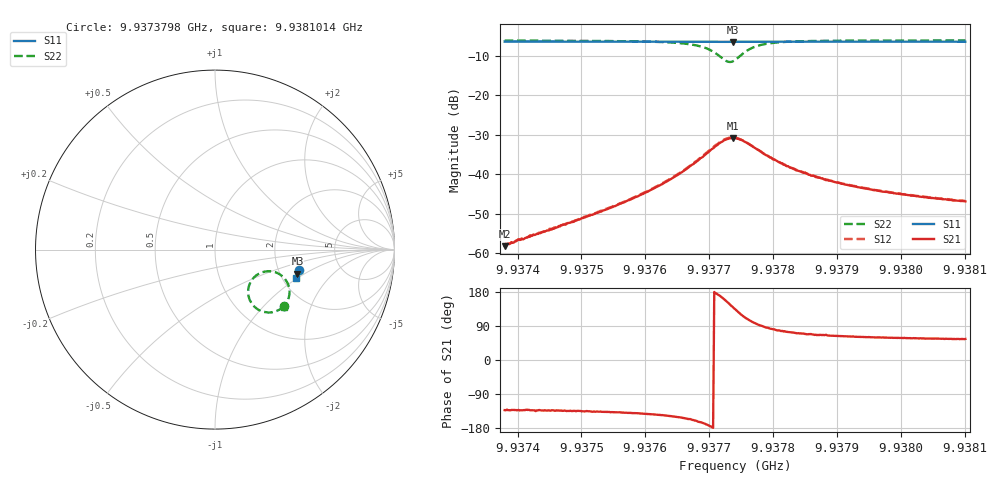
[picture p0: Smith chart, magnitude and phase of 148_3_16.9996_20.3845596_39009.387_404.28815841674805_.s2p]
#  HZ  S  RI  R  50.00
! Rohde & Schwarz Vector Network Analyzer
! Rohde-Schwarz,ZNB20-2Port,1311601062101988,3.16
! Created: UTC 3/20/2024, 10:58:44 PM
! freq[Hz]  re:S11  im:S11  re:S21  im:S21  re:S12  im:S12  re:S22  im:S22
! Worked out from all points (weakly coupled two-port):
!   401 points, 9.9373798 GHz to 9.9381014 GHz, reference 50 ohm
!   highest |S21| = -30.78 dB at 9.937737 GHz (marker M1); lowest = -58.2 dB at 9.9373798 GHz (marker M2)
!   lowest |S11| = -6.4 dB at 9.937737 GHz (marker M3), VSWR 2.83, Z = 124 - j43 ohm
!   |S11| at or under -10 dB: nowhere
!   |S22| runs from -11.5 to -6.0 dB; largest |S21 - S12| = 0.0014
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9.93737978e9  0.4701 -0.1117  -0.000827 -0.000908  -0.000912 -0.000963  0.3832 -0.3165
9.937387e9  0.47 -0.1122  -0.000879 -0.000963  -0.0009 -0.000972  0.3823 -0.3171
9.93750065e9  0.4673 -0.1197  -0.00198 -0.00196  -0.00205 -0.00198  0.3675 -0.3291
9.93756559e9  0.466 -0.1243  -0.00329 -0.00288  -0.00339 -0.0029  0.3522 -0.3381
9.93762152e9  0.4645 -0.128  -0.00586 -0.00415  -0.00602 -0.00412  0.3274 -0.3473
9.9376594e9  0.4631 -0.1307  -0.00974 -0.00497  -0.01 -0.00493  0.2931 -0.3504
9.93767924e9  0.4622 -0.1322  -0.0134 -0.00486  -0.0139 -0.00459  0.2624 -0.3443
9.93769368e9  0.4615 -0.1331  -0.0173 -0.00361  -0.0179 -0.00318  0.2321 -0.3285
9.9377063e9  0.4605 -0.1336  -0.0213 -0.000407  -0.022 0.000185  0.2028 -0.2973
9.93771893e9  0.4595 -0.1338  -0.025 0.00602  -0.0254 0.0069  0.1847 -0.2415
9.93772976e9  0.4593 -0.1337  -0.0247 0.0135  -0.0246 0.0149  0.1989 -0.18
9.93773697e9  0.4593 -0.1334  -0.0222 0.0185  -0.0217 0.0197  0.2284 -0.1448
9.93774058e9  0.4594 -0.1333  -0.02 0.0204  -0.0194 0.0217  0.2478 -0.1327
9.9377496e9  0.4598 -0.1333  -0.014 0.0236  -0.0133 0.0244  0.2993 -0.1204
9.93776223e9  0.4604 -0.1339  -0.00668 0.0233  -0.00585 0.0237  0.3571 -0.1354
9.93778207e9  0.4608 -0.1357  -3.85e-05 0.0191  0.000578 0.0193  0.4007 -0.1799
9.93782356e9  0.4605 -0.1391  0.00349 0.0122  0.00383 0.0121  0.415 -0.2416
9.93786145e9  0.4596 -0.1421  0.00367 0.00888  0.00378 0.00901  0.4106 -0.2689
9.93791737e9  0.4584 -0.1459  0.0034 0.00647  0.00359 0.00648  0.402 -0.2899
9.93798232e9  0.4566 -0.1502  0.00306 0.00502  0.00317 0.00505  0.3938 -0.3039
9.93804546e9  0.455 -0.1545  0.00276 0.00421  0.00289 0.00421  0.3878 -0.313
9.93810138e9  0.4535 -0.158  0.00257 0.00375  0.00272 0.00374  0.3828 -0.3193
